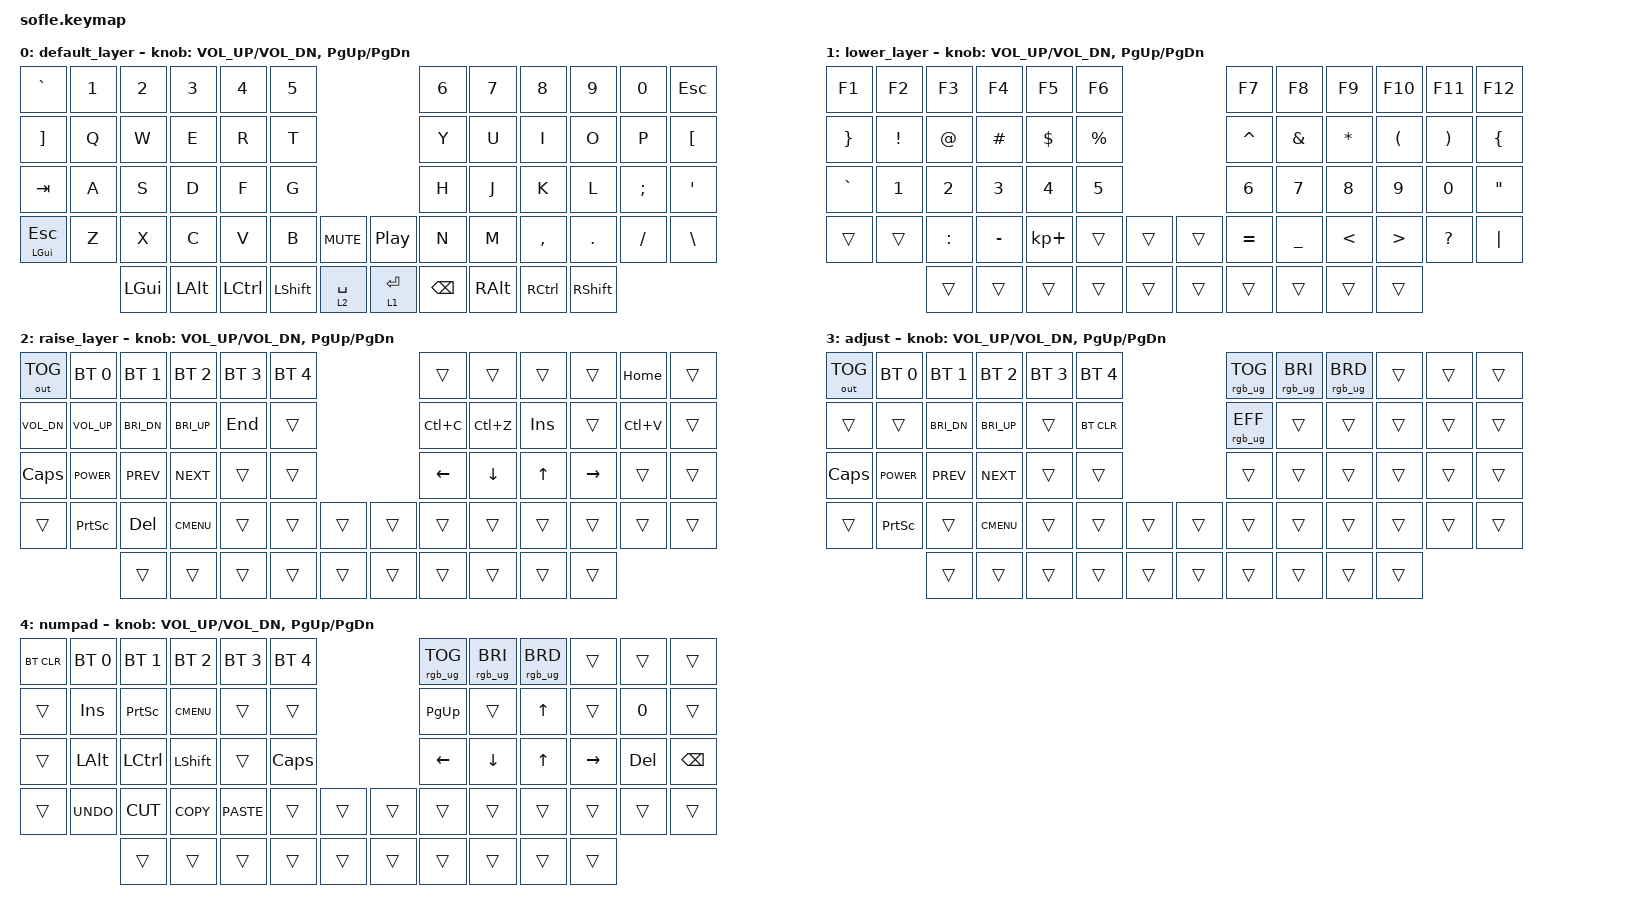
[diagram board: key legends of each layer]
/*
 * Copyright (c) 2020 The ZMK Contributors
 *
 * SPDX-License-Identifier: MIT
 */

#include <behaviors.dtsi>
#include <dt-bindings/zmk/keys.h>
#include <dt-bindings/zmk/bt.h>
#include <dt-bindings/zmk/rgb.h>
#include <dt-bindings/zmk/outputs.h>


/ {
    conditional_layers {
        compatible = "zmk,conditional-layers";
        tri_layer {
            if-layers = <1 2>; // If lower_layer (1) and raise_layer (2) are active...
            then-layer = <3>; // ...activate adjust layer (3)
        };
    };

    keymap {
        compatible = "zmk,keymap";

        default_layer { // Layer 0
// ------------------------------------------------------------------------------------------------------------
// |  `    |  1  |  2  |  3   |  4   |  5   |                  |  6   |  7    |  8    |  9   |   0   |  ESC  |
// |  ]    |  Q  |  W  |  E   |  R   |  T   |                  |  Y   |  U    |  I    |  O   |   P   |   [   |
// | TAB   |  A  |  S  |  D   |  F   |  G   |                  |  H   |  J    |  K    |  L   |   ;   |   '   |
// | G/ESC |  Z  |  X  |  C   |  V   |  B   |  MUTE  |  PLAY   |  N   |  M    |  ,    |  .   |   /   |   \   |
//               | GUI | ALT  | CTRL | SHIFT| RAISE  |  LOWER  | BSPC | ALT   | CTRL  | SHIFT|
            bindings = <
&kp GRAVE    &kp N1 &kp N2   &kp N3   &kp N4    &kp N5                                   &kp N6   &kp N7   &kp N8    &kp N9   &kp N0   &kp ESC
&kp RBKT     &kp Q  &kp W    &kp E    &kp R     &kp T                                    &kp Y    &kp U    &kp I     &kp O    &kp P    &kp LBKT
&kp TAB      &kp A  &kp S    &kp D    &kp F     &kp G                                    &kp H    &kp J    &kp K     &kp L    &kp SEMI &kp SQT
&mt LGUI ESC &kp Z  &kp X    &kp C    &kp V     &kp B      &kp C_MUTE   &kp C_PLAY_PAUSE &kp N    &kp M    &kp COMMA &kp DOT  &kp FSLH &kp BSLH
                    &kp LGUI &kp LALT &kp LCTRL &kp LSHFT  &lt 2 SPACE  &lt 1 ENTER      &kp BSPC &kp RALT &kp RCTRL &kp RSHFT
            >;
            /* Sensor bindings definition:
             * Left encoder rotate: Vol Up/Vol Down
             * Right encoder rotate: Page Up/Page Down
             */
            sensor-bindings = <&inc_dec_kp C_VOL_UP C_VOL_DN &inc_dec_kp PG_UP PG_DN>;
        };

        lower_layer { // Layer 1
// ------------------------------------------------------------------------------------------------------------
// |  F1   |  F2 |  F3 |  F4  |  F5  |  F6  |                   |  F7  |  F8   |  F9   | F10   |  F11  |  F12  |
// |  }    |  !  |  @  |  #   |  $   |  %   |                   |  ^   |  &    |  *    |  (    |   )   |   {   |
// |  `    |  1  |  2  |  3   |  4   |  5   |                   |  6   |  7    |  8    |  9    |   0   |   "   |
// |       |     |  :  |  -   |  +   |      |        |          |  =   |  _    |  <    |  >    |   ?   |   |   |
//               |     |      |      |      |        |          |      |       |       |       |
            bindings = <
&kp F1    &kp F2    &kp F3    &kp F4    &kp F5      &kp F6                    &kp F7    &kp F8    &kp F9   &kp F10   &kp F11      &kp F12
&kp RBRC  &kp EXCL  &kp AT    &kp HASH  &kp DLLR    &kp PRCNT                 &kp CARET &kp AMPS  &kp STAR &kp LPAR  &kp RPAR     &kp LBRC
&kp GRAVE &kp N1    &kp N2    &kp N3    &kp N4      &kp N5                    &kp N6    &kp N7    &kp N8   &kp N9    &kp N0       &kp DQT
&trans    &trans    &kp COLON &kp MINUS &kp KP_PLUS &trans    &trans   &trans &kp EQUAL &kp UNDER &kp LT   &kp GT    &kp QUESTION &kp PIPE
                    &trans    &trans    &trans      &trans    &trans   &trans &trans    &trans    &trans   &trans
            >;
            /* Sensor bindings definition:
             * Left encoder rotate: Vol Up/Vol Down
             * Right encoder rotate: Page Up/Page Down
             */
            sensor-bindings = <&inc_dec_kp C_VOL_UP C_VOL_DN &inc_dec_kp PG_UP PG_DN>;
        };

        raise_layer { // Layer 2
// ------------------------------------------------------------------------------------------------------------
// | OUT   | BT0 | BT1  |  BT2 |  BT3 |  BT4 |                   |      |      |       |      | HOME  |       |
// | VOLDN |VOLUP| BRDN | BRUP | END  |      |                   | COPY | UNDO |  INS  |      | PASTE |       |
// | CAPS  |POWER| PREV | NEXT |      |      |                   | LEFT | DOWN |  UP   | RIGHT|       |       |
// |       |PSCRN| DEL  | MENU |      |      |       |           |      |      |       |      |       |       |
//               |      |      |      |      |       |           |      |      |       |       |
            bindings = <
&out OUT_TOG &bt BT_SEL 0 &bt BT_SEL 1 &bt BT_SEL 2 &bt BT_SEL 3 &bt BT_SEL 4             &trans    &trans    &trans  &trans    &kp HOME    &trans
&kp C_VOL_DN &kp C_VOL_UP &kp C_BRI_DN &kp C_BRI_UP &kp END      &trans                   &kp LC(C) &kp LC(Z) &kp INS &trans    &kp LC(V) &trans
&kp CLCK     &kp C_POWER  &kp C_PREV   &kp C_NEXT   &trans       &trans                   &kp LEFT  &kp DOWN  &kp UP  &kp RIGHT &trans    &trans
&trans       &kp PSCRN    &kp DEL      &kp K_CMENU  &trans       &trans  &trans   &trans  &trans    &trans    &trans  &trans    &trans    &trans
                          &trans       &trans       &trans       &trans  &trans   &trans  &trans    &trans    &trans  &trans
            >;
            /* Sensor bindings definition:
             * Left encoder rotate: Vol Up/Vol Down
             * Right encoder rotate: Page Up/Page Down
             */
            sensor-bindings = <&inc_dec_kp C_VOL_UP C_VOL_DN &inc_dec_kp PG_UP PG_DN>;
        };


        adjust { // Layer 3 (activated when Layer 1 and Layer 2 are active)
// ------------------------------------------------------------------------------------------------------------
// | OUT   | BT0 | BT1  |  BT2 |  BT3 |  BT4 |                   | RGB T| RGB +| RGB - |      |       |       |
// |       |     | BRDN | BRUP |      |BT CLR|                   |RGB EF+|     |       |      |       |       |
// | CAPS  |POWER| PREV | NEXT |      |      |                   |      |      |       |      |       |       |
// |       |PSCRN|      | MENU |      |      |       |           |      |      |       |      |       |       |
//               |      |      |      |      |       |           |      |      |       |       |
            bindings = <
&out OUT_TOG &bt BT_SEL 0 &bt BT_SEL 1 &bt BT_SEL 2 &bt BT_SEL 3 &bt BT_SEL 4            &rgb_ug RGB_TOG    &rgb_ug RGB_BRI   &rgb_ug RGB_BRD &trans    &trans  &trans
&trans       &trans       &kp C_BRI_DN &kp C_BRI_UP &trans       &bt BT_CLR              &rgb_ug RGB_EFF    &trans            &trans          &trans    &trans  &trans
&kp CLCK     &kp C_POWER  &kp C_PREV   &kp C_NEXT   &trans       &trans                  &trans             &trans            &trans          &trans    &trans  &trans
&trans       &kp PSCRN    &trans       &kp K_CMENU  &trans       &trans  &trans  &trans  &trans             &trans            &trans          &trans    &trans  &trans
                          &trans       &trans       &trans       &trans  &trans  &trans  &trans             &trans            &trans          &trans
            >;
            /* Sensor bindings definition:
             * Left encoder rotate: Vol Up/Vol Down
             * Right encoder rotate: Page Up/Page Down
             */
            sensor-bindings = <&inc_dec_kp C_VOL_UP C_VOL_DN &inc_dec_kp PG_UP PG_DN>;
        };

        numpad { // Layer 4 (Currently unused in default config, has non-numpad bindings)
// ------------------------------------------------------------------------------------------------------------
// |BT CLR | BT0 | BT1  |  BT2 |  BT3 |  BT4 |                   | RGB T| RGB +| RGB - |      |       |       |
// |       | INS | PSCRN| MENU |      |      |                   | PGUP |      |  UP   |      |   0   |       |
// |       | ALT | CTRL | SHIFT|      | CAPS |                   | LEFT | DOWN |  UP   | RIGHT|  DEL  | BSPC  |
// |       | UNDO| CUT  | COPY | PASTE|      |       |           |      |      |       |      |       |       |
//               |     |      |      |      |       |       |      |      |       |       |
            bindings = <
&bt BT_CLR &bt BT_SEL 0 &bt BT_SEL 1 &bt BT_SEL 2 &bt BT_SEL 3 &bt BT_SEL 4             &rgb_ug RGB_TOG    &rgb_ug RGB_BRI   &rgb_ug RGB_BRD &trans    &trans  &trans
&trans     &kp INS      &kp PSCRN    &kp K_CMENU  &trans       &trans                   &kp PG_UP          &trans            &kp UP          &trans    &kp N0  &trans
&trans     &kp LALT     &kp LCTRL    &kp LSHFT    &trans       &kp CLCK                 &kp LEFT           &kp DOWN          &kp UP          &kp RIGHT &kp DEL &kp BSPC
&trans     &kp K_UNDO   &kp K_CUT    &kp K_COPY   &kp K_PASTE  &trans  &trans   &trans  &trans             &trans            &trans          &trans    &trans  &trans
                        &trans       &trans       &trans       &trans  &trans   &trans  &trans             &trans            &trans          &trans
            >;
            /* Sensor bindings definition:
             * Left encoder rotate: Vol Up/Vol Down
             * Right encoder rotate: Page Up/Page Down
             */
            sensor-bindings = <&inc_dec_kp C_VOL_UP C_VOL_DN &inc_dec_kp PG_UP PG_DN>;
        };
    };
};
